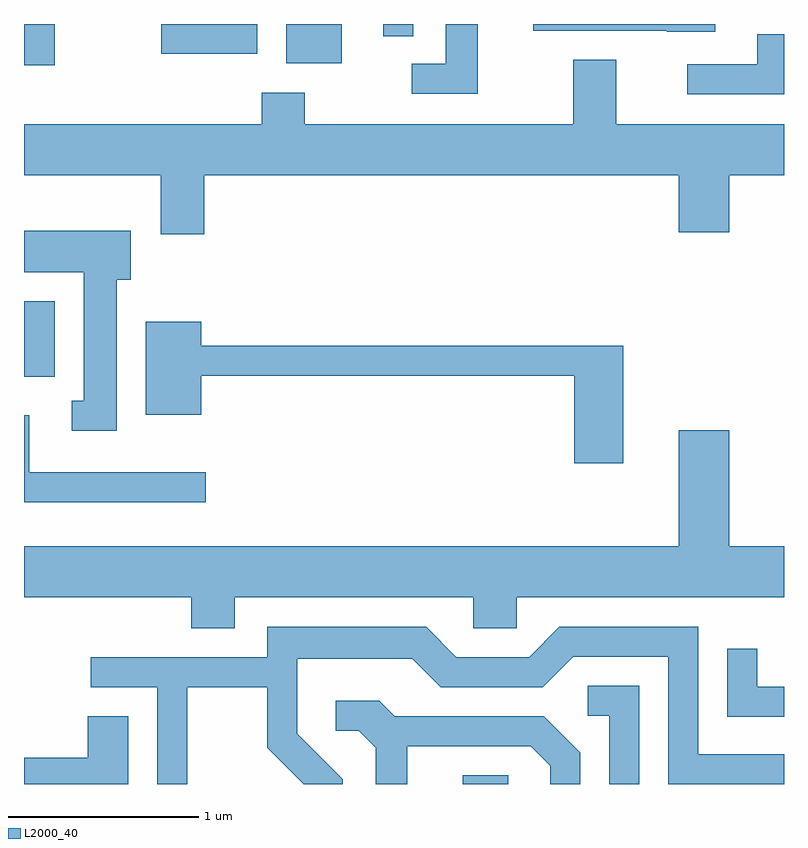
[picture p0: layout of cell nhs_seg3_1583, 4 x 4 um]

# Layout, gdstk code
import gdstk
lib = gdstk.Library(unit=1e-6, precision=1e-09)
def R(c, l, rs):  # rectangles x0, y0, x1, y1
    for r in rs: c.add(gdstk.rectangle(r[:2], r[2:], *l))
def P(c, l, *ps):  # polygons
    for p in ps: c.add(gdstk.Polygon(p, *l))
L2000_40 = (2000, 40)

nhs_seg3_1583 = lib.new_cell('nhs_seg3_1583')
R(nhs_seg3_1583, L2000_40, [(233.921,1153.892,234.159,1153.939), (231.611,1156.036,231.774,1156.434), (231.611,1157.676,231.774,1157.892), (232.991,1157.686,233.284,1157.892), (232.333,1157.736,232.839,1157.892), (233.501,1157.828,233.659,1157.892)])
P(nhs_seg3_1583, L2000_40, [(235.249,1157.892),(234.291,1157.892),(234.291,1157.856),(234.995,1157.856),(234.995,1157.851),(235.249,1157.851)],
  [(233.999,1157.892),(233.831,1157.892),(233.831,1157.684),(233.653,1157.684),(233.653,1157.526),(233.999,1157.526)],
  [(235.611,1157.839),(235.471,1157.839),(235.471,1157.679),(235.103,1157.679),(235.103,1157.521),(235.611,1157.521)],
  [(232.559,1157.096),(235.056,1157.096),(235.056,1156.796),(235.324,1156.796),(235.324,1157.096),(235.611,1157.096),(235.611,1157.364),(234.729,1157.364),(234.729,1157.704),(234.501,1157.704),(234.501,1157.364),(233.089,1157.364),(233.089,1157.529),(232.861,1157.529),(232.861,1157.364),(231.611,1157.364),(231.611,1157.096),(232.331,1157.096),(232.331,1156.786),(232.559,1156.786)],
  [(232.099,1156.546),(232.174,1156.546),(232.174,1156.804),(231.611,1156.804),(231.611,1156.586),(231.926,1156.586),(231.926,1155.909),(231.863,1155.909),(231.863,1155.751),(232.099,1155.751)],
  [(234.764,1156.199),(232.544,1156.199),(232.544,1156.324),(232.251,1156.324),(232.251,1155.836),(232.544,1155.836),(232.544,1156.041),(234.506,1156.041),(234.506,1155.581),(234.764,1155.581)],
  [(232.568,1155.534),(231.639,1155.534),(231.639,1155.834),(231.611,1155.834),(231.611,1155.376),(232.568,1155.376)],
  [(232.719,1154.876),(233.976,1154.876),(233.976,1154.711),(234.204,1154.711),(234.204,1154.876),(235.611,1154.876),(235.611,1155.144),(235.324,1155.144),(235.324,1155.754),(235.056,1155.754),(235.056,1155.144),(231.611,1155.144),(231.611,1154.876),(232.491,1154.876),(232.491,1154.711),(232.719,1154.711)],
  [(232.469,1154.401),(232.891,1154.401),(232.891,1154.084),(233.083,1153.892),(233.289,1153.892),(233.289,1153.917),(233.049,1154.157),(233.049,1154.551),(233.654,1154.551),(233.804,1154.401),(234.342,1154.401),(234.502,1154.561),(235.001,1154.561),(235.001,1153.892),(235.611,1153.892),(235.611,1154.049),(235.159,1154.049),(235.159,1154.719),(234.429,1154.719),(234.269,1154.559),(233.887,1154.559),(233.727,1154.719),(232.891,1154.719),(232.891,1154.559),(231.963,1154.559),(231.963,1154.401),(232.311,1154.401),(232.311,1153.892),(232.469,1153.892)],
  [(235.611,1154.404),(235.469,1154.404),(235.469,1154.603),(235.311,1154.603),(235.311,1154.246),(235.611,1154.246)],
  [(234.849,1154.409),(234.578,1154.409),(234.578,1154.251),(234.691,1154.251),(234.691,1153.892),(234.849,1153.892)],
  [(233.629,1154.091),(234.279,1154.091),(234.381,1153.989),(234.381,1153.892),(234.539,1153.892),(234.539,1154.057),(234.347,1154.249),(233.562,1154.249),(233.482,1154.329),(233.253,1154.329),(233.253,1154.171),(233.374,1154.171),(233.461,1154.084),(233.461,1153.892),(233.629,1153.892)],
  [(232.159,1154.249),(231.946,1154.249),(231.946,1154.029),(231.611,1154.029),(231.611,1153.892),(232.159,1153.892)])

lib.write_gds('nhs_seg3_1583.gds')
